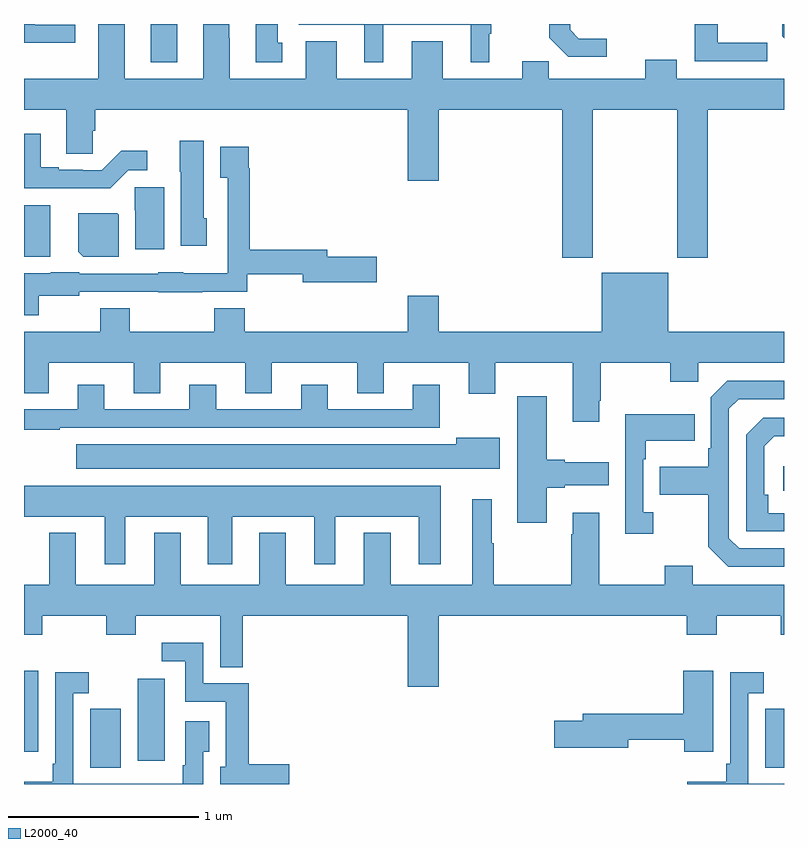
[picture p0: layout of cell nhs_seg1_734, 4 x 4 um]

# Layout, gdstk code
import gdstk
lib = gdstk.Library(unit=1e-6, precision=1e-09)
def R(c, l, rs):  # rectangles x0, y0, x1, y1
    for r in rs: c.add(gdstk.rectangle(r[:2], r[2:], *l))
def P(c, l, *ps):  # polygons
    for p in ps: c.add(gdstk.Polygon(p, *l))
L2000_40 = (2000, 40)

nhs_seg1_734 = lib.new_cell('nhs_seg1_734')
R(nhs_seg1_734, L2000_40, [(151.349,532.285,151.51,532.596), (154.901,532.285,155,532.596), (151.598,532.322,151.741,532.753), (151,532.368,151.075,532.795), (154.995,533.742,155,533.872), (151,534.974,151.138,535.246), (151.667,535.997,151.807,536.199)])
P(nhs_seg1_734, L2000_40, [(154.912,536.101),(154.651,536.101),(154.651,536.197),(154.638,536.197),(154.638,536.199),(154.53,536.199),(154.53,536.004),(154.912,536.004)],
  [(152.89,536.196),(153.35,536.196),(153.35,535.997),(153.448,535.997),(153.448,536.148),(153.46,536.148),(153.46,536.199),(152.445,536.199),(152.445,536.196),(152.792,536.196),(152.792,535.997),(152.89,535.997)],
  [(152.359,536.1),(152.335,536.1),(152.335,536.199),(152.219,536.199),(152.219,535.998),(152.359,535.998)],
  [(151.27,536.196),(151.056,536.196),(151.056,536.199),(151,536.199),(151,536.1),(151.27,536.1)],
  [(154.066,536.121),(153.921,536.121),(153.874,536.168),(153.874,536.199),(153.765,536.199),(153.765,536.127),(153.865,536.027),(154.066,536.027)],
  [(153.993,535.748),(154.438,535.748),(154.438,534.969),(154.598,534.969),(154.598,535.748),(155,535.748),(155,535.912),(154.435,535.912),(154.435,536.011),(154.271,536.011),(154.271,535.912),(153.761,535.912),(153.761,536.003),(153.623,536.003),(153.623,535.912),(153.205,535.912),(153.205,536.107),(153.041,536.107),(153.041,535.912),(152.647,535.912),(152.647,536.107),(152.483,536.107),(152.483,535.912),(152.083,535.912),(152.083,536.123),(152.08,536.123),(152.08,536.199),(151.943,536.199),(151.943,535.912),(151.531,535.912),(151.531,536.199),(151.391,536.199),(151.391,535.912),(151,535.912),(151,535.748),(151.223,535.748),(151.223,535.516),(151.362,535.516),(151.362,535.638),(151.376,535.638),(151.376,535.748),(153.02,535.748),(153.02,535.374),(153.184,535.374),(153.184,535.748),(153.833,535.748),(153.833,534.969),(153.993,534.969)],
  [(155,536.199),(154.99,536.199),(154.99,536.135),(155,536.125)],
  [(151.548,535.428),(151.648,535.428),(151.648,535.531),(151.513,535.531),(151.41,535.428),(151.31,535.428),(151.31,535.431),(151.183,535.431),(151.183,535.444),(151.087,535.444),(151.087,535.621),(151,535.621),(151,535.334),(151.453,535.334)],
  [(151.963,535.176),(151.945,535.176),(151.945,535.585),(151.82,535.585),(151.82,535.422),(151.826,535.422),(151.826,535.032),(151.963,535.032)],
  [(151.078,534.77),(151.29,534.77),(151.29,534.789),(151.707,534.789),(151.707,534.788),(151.939,534.788),(151.939,534.789),(152.174,534.789),(152.174,534.882),(152.468,534.882),(152.468,534.839),(152.857,534.839),(152.857,534.974),(152.596,534.974),(152.596,535.01),(152.189,535.01),(152.189,535.439),(152.182,535.439),(152.182,535.552),(152.033,535.552),(152.033,535.391),(152.073,535.391),(152.073,534.886),(151.839,534.886),(151.839,534.892),(151.707,534.892),(151.707,534.885),(151.29,534.885),(151.29,534.892),(151.14,534.892),(151.14,534.886),(151,534.886),(151,534.665),(151.078,534.665)],
  [(151.738,535.341),(151.582,535.341),(151.582,535.218),(151.586,535.218),(151.586,535.014),(151.738,535.014)],
  [(151.498,535.196),(151.49,535.204),(151.286,535.204),(151.286,535),(151.312,534.974),(151.498,534.974)],
  [(152.162,534.704),(152.002,534.704),(152.002,534.58),(151.557,534.58),(151.557,534.704),(151.402,534.704),(151.402,534.58),(151,534.58),(151,534.256),(151.129,534.256),(151.129,534.416),(151.577,534.416),(151.577,534.256),(151.717,534.256),(151.717,534.416),(152.165,534.416),(152.165,534.256),(152.305,534.256),(152.305,534.416),(152.753,534.416),(152.753,534.256),(152.893,534.256),(152.893,534.416),(153.341,534.416),(153.341,534.252),(153.481,534.252),(153.481,534.416),(153.887,534.416),(153.887,534.105),(154.027,534.105),(154.027,534.217),(154.035,534.217),(154.035,534.416),(154.402,534.416),(154.402,534.317),(154.548,534.317),(154.548,534.416),(155,534.416),(155,534.58),(154.39,534.58),(154.39,534.889),(154.04,534.889),(154.04,534.58),(153.184,534.58),(153.184,534.769),(153.02,534.769),(153.02,534.58),(152.162,534.58)],
  [(155,533.439),(154.764,533.439),(154.71,533.493),(154.71,534.174),(154.761,534.225),(155,534.225),(155,534.321),(154.701,534.321),(154.614,534.234),(154.614,533.965),(154.602,533.965),(154.602,533.869),(154.345,533.869),(154.345,533.722),(154.602,533.722),(154.602,533.449),(154.707,533.343),(155,533.343)],
  [(151.187,534.075),(153.187,534.075),(153.187,534.301),(153.047,534.301),(153.047,534.171),(152.599,534.171),(152.599,534.301),(152.459,534.301),(152.459,534.171),(152.011,534.171),(152.011,534.301),(151.871,534.301),(151.871,534.171),(151.423,534.171),(151.423,534.301),(151.283,534.301),(151.283,534.171),(151,534.171),(151,534.063),(151.187,534.063)],
  [(153.751,533.759),(153.847,533.759),(153.847,533.771),(154.078,533.771),(154.078,533.893),(153.847,533.893),(153.847,533.906),(153.751,533.906),(153.751,534.241),(153.596,534.241),(153.596,533.574),(153.751,533.574)],
  [(154.312,533.63),(154.26,533.63),(154.26,533.909),(154.273,533.909),(154.273,534.005),(154.529,534.005),(154.529,534.145),(154.164,534.145),(154.164,533.517),(154.312,533.517)],
  [(155,533.625),(154.916,533.625),(154.916,533.722),(154.896,533.722),(154.896,533.976),(154.949,534.029),(155,534.029),(155,534.126),(154.89,534.126),(154.8,534.036),(154.8,533.529),(155,533.529)],
  [(153.505,534.022),(153.275,534.022),(153.275,533.986),(151.275,533.986),(151.275,533.858),(153.505,533.858)],
  [(151.534,533.606),(151.967,533.606),(151.967,533.355),(152.095,533.355),(152.095,533.606),(152.528,533.606),(152.528,533.355),(152.638,533.355),(152.638,533.606),(153.077,533.606),(153.077,533.355),(153.193,533.355),(153.193,533.77),(151,533.77),(151,533.606),(151.424,533.606),(151.424,533.355),(151.534,533.355)],
  [(153.184,533.084),(154.487,533.084),(154.487,532.985),(154.647,532.985),(154.647,533.084),(154.984,533.084),(154.984,532.985),(155,532.985),(155,533.248),(154.519,533.248),(154.519,533.347),(154.372,533.347),(154.372,533.248),(154.027,533.248),(154.027,533.626),(153.887,533.626),(153.887,533.513),(153.88,533.513),(153.88,533.248),(153.473,533.248),(153.473,533.465),(153.463,533.465),(153.463,533.698),(153.359,533.698),(153.359,533.248),(152.929,533.248),(152.929,533.521),(152.789,533.521),(152.789,533.248),(152.377,533.248),(152.377,533.521),(152.237,533.521),(152.237,533.248),(151.825,533.248),(151.825,533.521),(151.685,533.521),(151.685,533.248),(151.273,533.248),(151.273,533.521),(151.133,533.521),(151.133,533.248),(151,533.248),(151,532.985),(151.095,532.985),(151.095,533.084),(151.432,533.084),(151.432,532.985),(151.587,532.985),(151.587,533.084),(152.033,533.084),(152.033,532.813),(152.152,532.813),(152.152,533.084),(153.02,533.084),(153.02,532.71),(153.184,532.71)],
  [(152.395,532.304),(152.182,532.304),(152.182,532.728),(151.944,532.728),(151.944,532.942),(151.725,532.942),(151.725,532.845),(151.848,532.845),(151.848,532.632),(152.063,532.632),(152.063,532.291),(152.033,532.291),(152.033,532.199),(152.395,532.199)],
  [(154.627,532.795),(154.469,532.795),(154.469,532.568),(153.941,532.568),(153.941,532.532),(153.792,532.532),(153.792,532.39),(154.18,532.39),(154.18,532.432),(154.474,532.432),(154.474,532.368),(154.627,532.368)],
  [(151.944,532.369),(151.975,532.369),(151.975,532.528),(151.848,532.528),(151.848,532.297),(151.836,532.297),(151.836,532.2),(151.26,532.2),(151.26,532.677),(151.342,532.677),(151.342,532.786),(151.164,532.786),(151.164,532.306),(151.152,532.306),(151.152,532.21),(151,532.21),(151,532.199),(151.944,532.199)],
  [(155,532.2),(154.812,532.2),(154.812,532.677),(154.894,532.677),(154.894,532.786),(154.716,532.786),(154.716,532.306),(154.696,532.306),(154.696,532.21),(154.491,532.21),(154.491,532.199),(155,532.199)])

lib.write_gds('nhs_seg1_734.gds')
